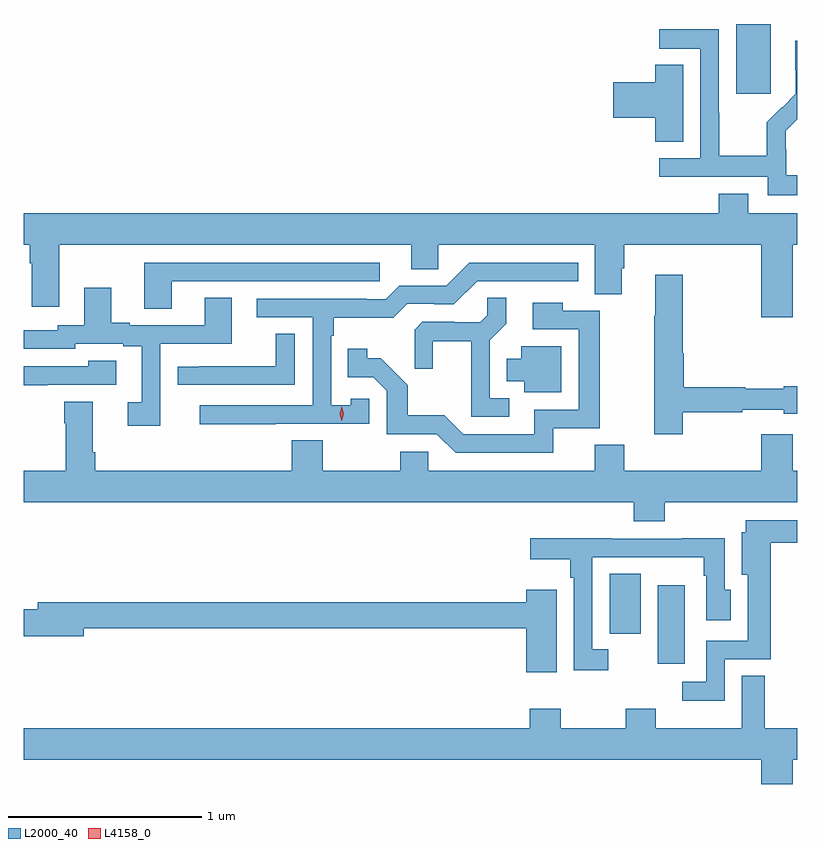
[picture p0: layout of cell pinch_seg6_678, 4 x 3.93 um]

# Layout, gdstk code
import gdstk
lib = gdstk.Library(unit=1e-6, precision=1e-09)
def R(c, l, rs):  # rectangles x0, y0, x1, y1
    for r in rs: c.add(gdstk.rectangle(r[:2], r[2:], *l))
def P(c, l, *ps):  # polygons
    for p in ps: c.add(gdstk.Polygon(p, *l))
L2000_40 = (2000, 40)
L4158_0 = (4158, 0)

pinch_seg6_678 = lib.new_cell('pinch_seg6_678')
R(pinch_seg6_678, L2000_40, [(440.198,954.492,440.338,954.898), (439.949,954.648,440.11,954.959), (440.603,957.441,440.782,957.802)])
P(pinch_seg6_678, L2000_40, [(440.919,957.019),(440.862,957.019),(440.862,957.153),(440.86,957.153),(440.86,957.25),(440.919,957.309),(440.919,957.716),(440.91,957.716),(440.91,957.562),(440.912,957.562),(440.912,957.44),(440.841,957.369),(440.838,957.372),(440.761,957.295),(440.761,957.121),(440.517,957.121),(440.517,957.344),(440.514,957.344),(440.514,957.774),(440.205,957.774),(440.205,957.675),(440.418,957.675),(440.418,957.108),(440.205,957.108),(440.205,957.012),(440.766,957.012),(440.766,956.915),(440.919,956.915)],
  [(440.329,957.59),(440.186,957.59),(440.186,957.5),(439.968,957.5),(439.968,957.317),(440.186,957.317),(440.186,957.193),(440.329,957.193)],
  [(440.896,956.66),(440.919,956.66),(440.919,956.824),(440.665,956.824),(440.665,956.923),(440.513,956.923),(440.513,956.824),(436.919,956.824),(436.919,956.66),(436.949,956.66),(436.949,956.564),(436.961,956.564),(436.961,956.34),(437.101,956.34),(437.101,956.66),(438.923,956.66),(438.923,956.533),(439.062,956.533),(439.062,956.66),(439.871,956.66),(439.871,956.404),(440.011,956.404),(440.011,956.538),(440.024,956.538),(440.024,956.66),(440.732,956.66),(440.732,956.286),(440.896,956.286)],
  [(437.683,956.472),(438.76,956.472),(438.76,956.568),(437.543,956.568),(437.543,956.329),(437.683,956.329)],
  [(438.221,955.734),(438.705,955.734),(438.705,955.863),(438.609,955.863),(438.609,955.831),(438.51,955.831),(438.51,956.189),(438.523,956.189),(438.523,956.282),(438.83,956.282),(438.903,956.355),(439.042,956.355),(439.042,956.352),(439.143,956.352),(439.263,956.472),(439.786,956.472),(439.786,956.568),(439.224,956.568),(439.104,956.448),(438.861,956.448),(438.792,956.379),(438.692,956.379),(438.692,956.382),(438.123,956.382),(438.123,956.286),(438.414,956.286),(438.414,955.83),(437.829,955.83),(437.829,955.732),(438.221,955.732)],
  [(440.328,955.794),(440.636,955.794),(440.636,955.806),(440.85,955.806),(440.85,955.786),(440.919,955.786),(440.919,955.928),(440.85,955.928),(440.85,955.915),(440.65,955.915),(440.65,955.922),(440.333,955.922),(440.333,956.099),(440.328,956.099),(440.328,956.506),(440.186,956.506),(440.186,956.293),(440.179,956.293),(440.179,955.68),(440.328,955.68)],
  [(437.625,956.148),(437.995,956.148),(437.995,956.387),(437.855,956.387),(437.855,956.244),(437.467,956.244),(437.467,956.257),(437.371,956.257),(437.371,956.437),(437.231,956.437),(437.231,956.244),(437.094,956.244),(437.094,956.217),(436.919,956.217),(436.919,956.121),(437.184,956.121),(437.184,956.148),(437.432,956.148),(437.432,956.136),(437.528,956.136),(437.528,955.845),(437.457,955.845),(437.457,955.725),(437.625,955.725)],
  [(439.429,955.866),(439.329,955.866),(439.329,956.165),(439.415,956.251),(439.415,956.387),(439.317,956.387),(439.317,956.296),(439.28,956.259),(439.146,956.259),(439.146,956.262),(438.981,956.262),(438.94,956.221),(438.94,956.019),(439.034,956.019),(439.034,956.162),(439.232,956.162),(439.232,955.77),(439.429,955.77)],
  [(439.658,955.71),(439.897,955.71),(439.897,956.319),(439.707,956.319),(439.707,956.359),(439.551,956.359),(439.551,956.223),(439.788,956.223),(439.788,955.806),(439.559,955.806),(439.559,955.68),(439.191,955.68),(439.093,955.779),(438.904,955.779),(438.904,955.934),(438.766,956.072),(438.696,956.072),(438.696,956.122),(438.595,956.122),(438.595,955.974),(438.726,955.974),(438.795,955.905),(438.795,955.68),(439.056,955.68),(439.152,955.584),(439.658,955.584)],
  [(438.321,956.201),(438.223,956.201),(438.223,956.031),(437.827,956.031),(437.827,956.03),(437.715,956.03),(437.715,955.935),(438.321,955.935)],
  [(439.699,956.134),(439.493,956.134),(439.493,956.071),(439.418,956.071),(439.418,955.955),(439.508,955.955),(439.508,955.898),(439.699,955.898)],
  [(437.039,955.935),(437.398,955.935),(437.398,956.059),(437.253,956.059),(437.253,956.031),(436.919,956.031),(436.919,955.933),(437.039,955.933)],
  [(440.235,955.328),(440.919,955.328),(440.919,955.492),(440.896,955.492),(440.896,955.681),(440.732,955.681),(440.732,955.492),(440.024,955.492),(440.024,955.625),(439.871,955.625),(439.871,955.492),(439.011,955.492),(439.011,955.59),(438.865,955.59),(438.865,955.492),(438.465,955.492),(438.465,955.649),(438.305,955.649),(438.305,955.492),(437.288,955.492),(437.288,955.588),(437.275,955.588),(437.275,955.849),(437.128,955.849),(437.128,955.736),(437.135,955.736),(437.135,955.492),(436.919,955.492),(436.919,955.328),(440.075,955.328),(440.075,955.229),(440.235,955.229)],
  [(440.544,954.516),(440.782,954.516),(440.782,955.12),(440.919,955.12),(440.919,955.236),(440.654,955.236),(440.654,955.173),(440.633,955.173),(440.633,954.953),(440.663,954.953),(440.663,954.612),(440.448,954.612),(440.448,954.399),(440.325,954.399),(440.325,954.302),(440.544,954.302)],
  [(439.942,954.567),(439.86,954.567),(439.86,955.044),(440.206,955.044),(440.206,955.043),(440.436,955.043),(440.436,954.947),(440.448,954.947),(440.448,954.717),(440.575,954.717),(440.575,954.876),(440.544,954.876),(440.544,955.142),(440.323,955.142),(440.323,955.14),(439.957,955.14),(439.957,955.142),(439.539,955.142),(439.539,955.034),(439.744,955.034),(439.744,954.938),(439.764,954.938),(439.764,954.459),(439.942,954.459)],
  [(439.675,954.877),(439.517,954.877),(439.517,954.812),(436.991,954.812),(436.991,954.776),(436.919,954.776),(436.919,954.634),(437.23,954.634),(437.23,954.676),(439.517,954.676),(439.517,954.45),(439.675,954.45)],
  [(440.896,953.996),(440.919,953.996),(440.919,954.16),(440.752,954.16),(440.752,954.431),(440.633,954.431),(440.633,954.16),(440.187,954.16),(440.187,954.259),(440.032,954.259),(440.032,954.16),(439.695,954.16),(439.695,954.259),(439.535,954.259),(439.535,954.16),(436.919,954.16),(436.919,953.996),(440.732,953.996),(440.732,953.871),(440.896,953.871)])
P(pinch_seg6_678, L4158_0, [(438.563,955.749),(438.563,955.749),(438.553,955.785),(438.564,955.821),(438.564,955.821),(438.564,955.821),(438.573,955.785),(438.563,955.749)])

lib.write_gds('pinch_seg6_678.gds')
